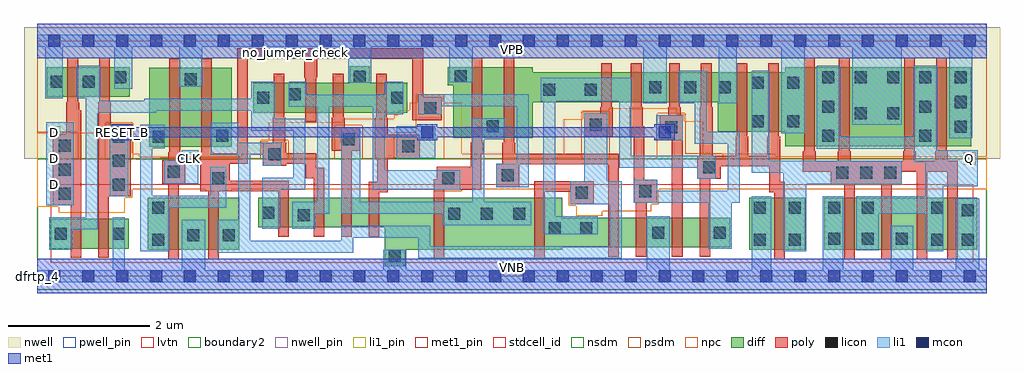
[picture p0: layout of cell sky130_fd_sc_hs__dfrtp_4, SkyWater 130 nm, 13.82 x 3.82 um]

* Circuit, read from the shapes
.subckt sky130_fd_sc_hs__dfrtp_4 CLK D Q RESET_B VGND VNB VPB VPWR
XM1 n1 D n2 VNB sky130_fd_pr__nfet_01v8_lvt w=0.42 l=0.15
XM2 VGND RESET_B n1 VNB sky130_fd_pr__nfet_01v8_lvt w=0.42 l=0.15
XM3 VGND CLK n3 VNB sky130_fd_pr__nfet_01v8_lvt w=0.74 l=0.15
XM4 n4 n3 VGND VNB sky130_fd_pr__nfet_01v8_lvt w=0.74 l=0.15
XM5 n5 n3 n2 VNB sky130_fd_pr__nfet_01v8_lvt w=0.42 l=0.15
XM6 n6 n4 n5 VNB sky130_fd_pr__nfet_01v8_lvt w=0.42 l=0.15
XM7 n7 n8 n6 VNB sky130_fd_pr__nfet_01v8_lvt w=0.42 l=0.15
XM8 VGND RESET_B n7 VNB sky130_fd_pr__nfet_01v8_lvt w=0.42 l=0.15
XM9 n8 n5 VGND VNB sky130_fd_pr__nfet_01v8_lvt w=0.74 l=0.15
XM10 n9 n4 n8 VNB sky130_fd_pr__nfet_01v8_lvt w=0.74 l=0.15
XM11 n10 n3 n9 VNB sky130_fd_pr__nfet_01v8_lvt w=0.42 l=0.15
XM12 VGND n11 n10 VNB sky130_fd_pr__nfet_01v8_lvt w=0.42 l=0.15
XM13 n12 RESET_B VGND VNB sky130_fd_pr__nfet_01v8_lvt w=0.42 l=0.15
XM14 n11 n9 n12 VNB sky130_fd_pr__nfet_01v8_lvt w=0.42 l=0.15
XM15 n13 n9 VGND VNB sky130_fd_pr__nfet_01v8_lvt w=0.74 l=0.15
XM16 Q n13 VGND VNB sky130_fd_pr__nfet_01v8_lvt w=0.74 l=0.15 m=4
XM17 n2 D VPWR VPB sky130_fd_pr__pfet_01v8 w=0.42 l=0.15
XM18 VPWR RESET_B n2 VPB sky130_fd_pr__pfet_01v8 w=0.42 l=0.15
XM19 VPWR CLK n3 VPB sky130_fd_pr__pfet_01v8 w=1.12 l=0.15
XM20 n4 n3 VPWR VPB sky130_fd_pr__pfet_01v8 w=1.12 l=0.15
XM21 n5 n4 n2 VPB sky130_fd_pr__pfet_01v8 w=0.42 l=0.15
XM22 n14 n3 n5 VPB sky130_fd_pr__pfet_01v8 w=0.42 l=0.15
XM23 VPWR n8 n14 VPB sky130_fd_pr__pfet_01v8 w=0.42 l=0.15
XM24 n5 RESET_B VPWR VPB sky130_fd_pr__pfet_01v8 w=0.42 l=0.15
XM25 n8 n5 VPWR VPB sky130_fd_pr__pfet_01v8 w=1 l=0.15
XM26 n9 n3 n8 VPB sky130_fd_pr__pfet_01v8 w=1 l=0.15
XM27 n15 n4 n9 VPB sky130_fd_pr__pfet_01v8 w=0.42 l=0.15
XM28 VPWR n11 n15 VPB sky130_fd_pr__pfet_01v8 w=0.42 l=0.15
XM29 n11 RESET_B VPWR VPB sky130_fd_pr__pfet_01v8 w=0.42 l=0.15
XM30 VPWR n9 n11 VPB sky130_fd_pr__pfet_01v8 w=0.42 l=0.15
XM31 n13 n9 VPWR VPB sky130_fd_pr__pfet_01v8 w=0.84 l=0.15 m=2
XM32 Q n13 VPWR VPB sky130_fd_pr__pfet_01v8 w=1.12 l=0.15 m=4
.ends

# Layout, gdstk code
import gdstk
lib = gdstk.Library(unit=1e-6, precision=1e-09)
def R(c, l, rs):  # rectangles x0, y0, x1, y1
    for r in rs: c.add(gdstk.rectangle(r[:2], r[2:], *l))
def A(c, l, x, y, w, h, nx, ny, dx, dy):  # array of equal rectangles
    R(c, l, [(x+i*dx, y+j*dy, x+i*dx+w, y+j*dy+h) for i in range(nx) for j in range(ny)])
def P(c, l, *ps):  # polygons
    for p in ps: c.add(gdstk.Polygon(p, *l))
nwell_pin = (64, 16)
nwell = (64, 20)
diff = (65, 20)
poly = (66, 20)
licon = (66, 44)
li1_pin = (67, 16)
li1 = (67, 20)
mcon = (67, 44)
met1_pin = (68, 16)
met1 = (68, 20)
stdcell_id = (81, 4)
nsdm = (93, 44)
psdm = (94, 20)
npc = (95, 20)
pwell_pin = (122, 16)
lvtn = (125, 44)
boundary2 = (236, 0)

sky130_fd_sc_hs__dfrtp_4 = lib.new_cell('sky130_fd_sc_hs__dfrtp_4')
R(sky130_fd_sc_hs__dfrtp_4, nwell_pin, [(0,3.085,13.44,3.33)])
P(sky130_fd_sc_hs__dfrtp_4, nwell, [(13.63,3.52),(-0.19,3.52),(-0.19,1.66),(1.4,1.66),(1.4,1.65),(2.935,1.65),(2.935,1.66),(13.63,1.66)])
R(sky130_fd_sc_hs__dfrtp_4, diff, [(1.565,0.37,2.855,1.11), (10.08,0.37,10.87,1.11), (11.14,0.37,13.305,1.11), (0.185,0.39,1.295,0.81), (1.58,1.83,2.755,2.95), (0.135,2.54,1.31,2.96)])
P(sky130_fd_sc_hs__dfrtp_4, diff, [(5.235,2.735),(4.705,2.735),(4.705,2.97),(4.425,2.97),(4.425,2.735),(3.055,2.735),(3.055,2.315),(5.235,2.315)],
  [(9.81,0.825),(7.435,0.825),(7.435,1.11),(3.125,1.11),(3.125,0.69),(4.915,0.69),(4.915,0.14),(5.205,0.14),(5.205,0.37),(7.435,0.37),(7.435,0.405),(9.81,0.405)],
  [(13.22,2.96),(10.59,2.96),(10.59,2.885),(7.015,2.885),(7.015,2.96),(5.81,2.96),(5.81,2.7),(5.885,2.7),(5.885,1.96),(7.015,1.96),(7.015,2.465),(9.635,2.465),(9.635,2.045),(10.59,2.045),(10.59,1.84),(13.22,1.84)])
P(sky130_fd_sc_hs__dfrtp_4, poly, [(13.03,1.63),(12.89,1.63),(12.89,1.765),(12.875,1.765),(12.875,3.09),(12.725,3.09),(12.725,1.765),(12.71,1.765),(12.71,1.63),(12.44,1.63),(12.44,1.765),(12.425,1.765),(12.425,3.09),(12.275,3.09),(12.275,1.765),(12.26,1.765),(12.26,1.63),(11.515,1.63),(11.515,1.765),(11.5,1.765),(11.5,3.09),(11.35,3.09),(11.35,1.765),(11.335,1.765),(11.335,1.63),(11.02,1.63),(11.02,1.765),(11.005,1.765),(11.005,3.09),(10.855,3.09),(10.855,1.765),(10.84,1.765),(10.84,1.48),(11.23,1.48),(11.23,1.3),(11.425,1.3),(11.425,0.24),(11.575,0.24),(11.575,1.3),(11.95,1.3),(11.95,0.24),(12.1,0.24),(12.1,1.3),(12.24,1.3),(12.24,1.48),(12.45,1.48),(12.45,0.24),(12.6,0.24),(12.6,1.48),(12.88,1.48),(12.88,0.24),(13.03,0.24)],
  [(10.585,1.335),(10.515,1.335),(10.515,1.97),(10.5,1.97),(10.5,3.015),(10.35,3.015),(10.35,1.97),(10.335,1.97),(10.335,1.705),(10.065,1.705),(10.065,1.97),(10.05,1.97),(10.05,3.015),(9.9,3.015),(9.9,1.97),(9.885,1.97),(9.885,1.705),(9.56,1.705),(9.56,2.39),(9.545,2.39),(9.545,3.015),(9.395,3.015),(9.395,2.39),(9.38,2.39),(9.38,1.705),(9.345,1.705),(9.345,1.375),(9.375,1.375),(9.375,0.275),(9.525,0.275),(9.525,1.375),(9.675,1.375),(9.675,1.555),(10.365,1.555),(10.365,1.185),(10.435,1.185),(10.435,0.24),(10.585,0.24)],
  [(9.14,2.275),(9.11,2.275),(9.11,2.39),(9.095,2.39),(9.095,3.015),(8.945,3.015),(8.945,2.39),(8.93,2.39),(8.93,2.275),(8.81,2.275),(8.81,1.945),(8.985,1.945),(8.985,0.275),(9.135,0.275),(9.135,1.945),(9.14,1.945)],
  [(8.775,1.365),(8.595,1.365),(8.595,2.125),(8.57,2.125),(8.57,2.39),(8.555,2.39),(8.555,3.015),(8.405,3.015),(8.405,2.39),(8.39,2.39),(8.39,1.975),(8.445,1.975),(8.445,1.035),(8.475,1.035),(8.475,0.275),(8.625,0.275),(8.625,1.035),(8.775,1.035)],
  [(8.235,1.735),(6.765,1.735),(6.765,1.885),(6.75,1.885),(6.75,3.09),(6.6,3.09),(6.6,1.885),(6.585,1.885),(6.585,1.59),(6.495,1.59),(6.495,1.26),(6.825,1.26),(6.825,1.585),(8.085,1.585),(8.085,0.275),(8.235,0.275)],
  [(8.15,2.39),(8.135,2.39),(8.135,3.015),(7.985,3.015),(7.985,2.39),(7.97,2.39),(7.97,2.305),(7.74,2.305),(7.74,1.975),(8.15,1.975)],
  [(7.875,1.345),(7.035,1.345),(7.035,0.24),(7.185,0.24),(7.185,1.195),(7.545,1.195),(7.545,1.015),(7.875,1.015)],
  [(6.315,1.885),(6.3,1.885),(6.3,3.09),(6.15,3.09),(6.15,1.885),(6.135,1.885),(6.135,1.55),(5.655,1.55),(5.655,1.37),(5.61,1.37),(5.61,0.24),(5.76,0.24),(5.76,1.22),(6.285,1.22),(6.285,1.73),(6.315,1.73)],
  [(5.725,2.54),(5.46,2.54),(5.46,3.225),(2.83,3.225),(2.83,1.74),(2.485,1.74),(2.485,1.755),(2.47,1.755),(2.47,3.08),(2.32,3.08),(2.32,1.755),(2.305,1.755),(2.305,1.2),(2.42,1.2),(2.42,0.24),(2.57,0.24),(2.57,1.2),(3.41,1.2),(3.41,0.56),(3.56,0.56),(3.56,1.35),(2.725,1.35),(2.725,1.59),(2.98,1.59),(2.98,3.075),(3.78,3.075),(3.78,2.81),(3.795,2.81),(3.795,2.185),(3.945,2.185),(3.945,2.81),(3.96,2.81),(3.96,3.075),(5.31,3.075),(5.31,2.21),(5.725,2.21)],
  [(5.415,2),(4.96,2),(4.96,2.24),(4.945,2.24),(4.945,2.865),(4.795,2.865),(4.795,2.24),(4.78,2.24),(4.78,1.67),(4.81,1.67),(4.81,1.335),(4.69,1.335),(4.69,0.56),(4.84,0.56),(4.84,1.185),(4.96,1.185),(4.96,1.67),(5.415,1.67)],
  [(4.57,2.105),(4.35,2.105),(4.35,2.24),(4.335,2.24),(4.335,2.865),(4.185,2.865),(4.185,2.24),(4.17,2.24),(4.17,1.775),(4.3,1.775),(4.3,0.56),(4.45,0.56),(4.45,1.775),(4.57,1.775)],
  [(4.06,1.535),(3.95,1.535),(3.95,1.74),(3.52,1.74),(3.52,1.89),(3.51,1.89),(3.51,2.24),(3.495,2.24),(3.495,2.865),(3.345,2.865),(3.345,2.24),(3.33,2.24),(3.33,1.89),(3.19,1.89),(3.19,1.56),(3.52,1.56),(3.52,1.59),(3.8,1.59),(3.8,1.385),(3.91,1.385),(3.91,0.56),(4.06,0.56)],
  [(2.095,1.64),(2.035,1.64),(2.035,1.755),(2.02,1.755),(2.02,3.08),(1.87,3.08),(1.87,1.755),(1.855,1.755),(1.855,1.64),(1.765,1.64),(1.765,1.31),(1.85,1.31),(1.85,0.24),(2,0.24),(2,1.31),(2.095,1.31)],
  [(1.32,2.14),(1.04,2.14),(1.04,2.465),(1.025,2.465),(1.025,3.09),(0.875,3.09),(0.875,2.465),(0.86,2.465),(0.86,0.26),(1.01,0.26),(1.01,1.13),(1.32,1.13)],
  [(0.62,2.35),(0.59,2.35),(0.59,2.465),(0.575,2.465),(0.575,3.09),(0.425,3.09),(0.425,2.465),(0.41,2.465),(0.41,2.01),(0.22,2.01),(0.22,1),(0.47,1),(0.47,0.26),(0.62,0.26)])
A(sky130_fd_sc_hs__dfrtp_4, licon, 0.3, 1.08, 0.17, 0.17, 1, 3, 0, 0.34)
A(sky130_fd_sc_hs__dfrtp_4, licon, 1.07, 1.21, 0.17, 0.17, 1, 3, 0, 0.34)
A(sky130_fd_sc_hs__dfrtp_4, licon, 11.31, 1.38, 0.17, 0.17, 3, 1, 0.34, 0)
A(sky130_fd_sc_hs__dfrtp_4, licon, 11.115, 1.9, 0.17, 0.17, 1, 3, 0, 0.415)
A(sky130_fd_sc_hs__dfrtp_4, licon, 12.49, 1.9, 0.17, 0.17, 1, 3, 0, 0.415)
A(sky130_fd_sc_hs__dfrtp_4, licon, 12.99, 2.03, 0.17, 0.17, 1, 3, 0, 0.35)
R(sky130_fd_sc_hs__dfrtp_4, licon, [(4.975,0.2,5.145,0.37), (1.625,0.43,1.795,0.6), (10.14,0.43,10.31,0.6), (10.64,0.43,10.81,0.6), (12.655,0.43,12.825,0.6), (13.085,0.43,13.255,0.6), (11.2,0.445,11.37,0.615), (11.675,0.445,11.845,0.615), (12.155,0.445,12.325,0.615), (2.125,0.49,2.295,0.66), (2.625,0.49,2.795,0.66), (0.245,0.515,0.415,0.685), (1.065,0.515,1.235,0.685), (8.705,0.53,8.875,0.7), (9.58,0.53,9.75,0.7), (7.24,0.595,7.41,0.765), (7.685,0.595,7.855,0.765), (3.685,0.775,3.855,0.945), (5.815,0.8,5.985,0.97), (6.275,0.8,6.445,0.97), (6.74,0.8,6.91,0.97), (3.185,0.815,3.355,0.985), (13.085,0.85,13.255,1.02), (1.625,0.88,1.795,1.05), (10.14,0.88,10.31,1.05), (10.64,0.88,10.81,1.05), (11.2,0.88,11.37,1.05), (11.675,0.88,11.845,1.05), (12.655,0.88,12.825,1.05), (7.625,1.095,7.795,1.265), (8.525,1.115,8.695,1.285), (2.475,1.3,2.645,1.47), (5.735,1.3,5.905,1.47), (6.575,1.34,6.745,1.51), (1.845,1.39,2.015,1.56), (9.425,1.455,9.595,1.625), (3.27,1.64,3.44,1.81), (5.165,1.75,5.335,1.92), (4.32,1.855,4.49,2.025), (1.635,1.89,1.805,2.06), (2.535,1.905,2.705,2.075), (8.89,2.025,9.06,2.195), (6.365,2.04,6.535,2.21), (7.82,2.055,7.99,2.225), (10.115,2.105,10.285,2.275), (10.615,2.105,10.785,2.275), (11.57,2.22,11.74,2.39), (12.035,2.22,12.205,2.39), (5.475,2.29,5.645,2.46), (3.11,2.44,3.28,2.61), (5.01,2.44,5.18,2.61), (3.56,2.49,3.73,2.66), (7.16,2.555,7.33,2.725), (7.75,2.555,7.92,2.725), (8.66,2.59,8.83,2.76), (9.16,2.59,9.33,2.76), (9.65,2.59,9.82,2.76), (10.115,2.655,10.285,2.825), (10.615,2.655,10.785,2.825), (0.19,2.665,0.36,2.835), (0.64,2.665,0.81,2.835), (2.085,2.7,2.255,2.87), (1.09,2.73,1.26,2.9), (11.57,2.73,11.74,2.9), (12.035,2.73,12.205,2.9), (4.48,2.74,4.65,2.91), (5.91,2.745,6.08,2.915)])
A(sky130_fd_sc_hs__dfrtp_4, li1_pin, 0.155, 1.21, 0.17, 0.17, 1, 3, 0, 0.37)
R(sky130_fd_sc_hs__dfrtp_4, li1_pin, [(2.075,1.58,2.245,1.75), (13.115,1.58,13.285,1.75)])
R(sky130_fd_sc_hs__dfrtp_4, li1, [(0.125,1,0.515,2.18), (1.025,1.13,1.285,2.14), (5.085,1.67,5.635,2.12), (8.765,1.92,9.14,2.275)])
P(sky130_fd_sc_hs__dfrtp_4, li1, [(8.58,2.445),(8.58,3.245),(6.165,3.245),(6.165,2.745),(5.83,2.745),(5.83,3.245),(4.73,3.245),(4.73,2.74),(4.4,2.74),(4.4,3.245),(2.335,3.245),(2.335,2.68),(2.005,2.68),(2.005,3.245),(1.34,3.245),(1.34,2.65),(1.09,2.65),(1.09,3.245),(0.36,3.245),(0.36,2.52),(0.11,2.52),(0.11,3.245),(0,3.245),(0,3.415),(13.44,3.415),(13.44,3.245),(13.24,3.245),(13.24,1.95),(12.91,1.95),(12.91,3.245),(12.24,3.245),(12.24,2.14),(11.535,2.14),(11.535,3.245),(10.865,3.245),(10.865,2.025),(10.535,2.025),(10.535,3.245),(9.9,3.245),(9.9,2.445),(9.65,2.445),(9.65,3.245),(8.91,3.245),(8.91,2.445)],
  [(2.045,0.085),(2.045,0.8),(2.375,0.8),(2.375,0.085),(4.895,0.085),(4.895,0.37),(5.225,0.37),(5.225,0.085),(8.625,0.085),(8.625,0.845),(8.955,0.845),(8.955,0.085),(10.115,0.085),(10.115,1.13),(10.39,1.13),(10.39,0.085),(11.12,0.085),(11.12,1.13),(11.41,1.13),(11.41,0.085),(12.08,0.085),(12.08,0.71),(12.405,0.71),(12.405,0.085),(13.005,0.085),(13.005,1.1),(13.335,1.1),(13.335,0.085),(13.44,0.085),(13.44,-0.085),(0,-0.085),(0,0.085),(1.065,0.085),(1.065,0.83),(1.235,0.83),(1.235,0.085)],
  [(1.795,1.31),(1.795,1.64),(2.045,1.64),(2.045,1.78),(2.275,1.78),(2.275,1.31)],
  [(13.315,1.78),(12.74,1.78),(12.74,2.98),(12.41,2.98),(12.41,1.97),(11.365,1.97),(11.365,2.98),(11.035,2.98),(11.035,1.8),(12.41,1.8),(12.41,1.61),(12.575,1.61),(12.575,1.13),(11.595,1.13),(11.595,0.365),(11.91,0.365),(11.91,0.88),(12.575,0.88),(12.575,0.35),(12.825,0.35),(12.825,1.27),(13.315,1.27)],
  [(9.31,1.875),(9.31,2.445),(9.08,2.445),(9.08,2.905),(9.48,2.905),(9.48,2.045),(9.945,2.045),(9.945,1.035),(9.83,1.035),(9.83,0.385),(9.5,0.385),(9.5,1.035),(8.445,1.035),(8.445,1.365),(8.775,1.365),(8.775,1.205),(9.775,1.205),(9.775,1.875)],
  [(3.36,2.23),(3.795,2.23),(3.795,1.22),(3.435,1.22),(3.435,0.67),(3.185,0.67),(3.185,1.39),(3.625,1.39),(3.625,2.06),(3.03,2.06),(3.03,2.34),(1.68,2.34),(1.68,2.31),(0.855,2.31),(0.855,0.66),(0.495,0.66),(0.495,0.37),(0.165,0.37),(0.165,0.83),(0.685,0.83),(0.685,2.52),(0.56,2.52),(0.56,2.98),(0.89,2.98),(0.89,2.48),(1.51,2.48),(1.51,2.51),(3.03,2.51),(3.03,2.755),(3.36,2.755)],
  [(1.625,1.81),(1.625,1.14),(2.445,1.14),(2.445,1.55),(2.675,1.55),(2.675,0.97),(1.875,0.97),(1.875,0.35),(1.455,0.35),(1.455,2.14),(1.805,2.14),(1.805,1.81)],
  [(3.965,1.05),(3.965,2.4),(3.56,2.4),(3.56,2.755),(3.81,2.755),(3.81,2.57),(4.915,2.57),(4.915,2.755),(5.18,2.755),(5.18,2.295),(4.915,2.295),(4.915,1.5),(5.985,1.5),(5.985,1.22),(4.745,1.22),(4.745,2.4),(4.135,2.4),(4.135,0.88),(3.935,0.88),(3.935,0.67),(3.605,0.67),(3.605,1.05)],
  [(2.845,0.8),(2.845,1.72),(2.455,1.72),(2.455,2.17),(2.845,2.17),(2.845,1.89),(3.455,1.89),(3.455,1.56),(3.19,1.56),(3.19,1.72),(3.015,1.72),(3.015,0.5),(4.305,0.5),(4.305,0.71),(5.565,0.71),(5.565,0.425),(8.105,0.425),(8.105,1.015),(7.545,1.015),(7.545,1.345),(7.74,1.345),(7.74,2.305),(8.07,2.305),(8.07,1.345),(8.275,1.345),(8.275,0.255),(5.395,0.255),(5.395,0.54),(4.475,0.54),(4.475,0.33),(2.545,0.33),(2.545,0.8)],
  [(10.56,1.46),(10.115,1.46),(10.115,2.905),(10.365,2.905),(10.365,1.63),(12.24,1.63),(12.24,1.3),(10.89,1.3),(10.89,0.35),(10.56,0.35)],
  [(4.57,1.05),(6.155,1.05),(6.155,2.235),(6.615,2.235),(6.615,1.94),(6.325,1.94),(6.325,1.05),(6.99,1.05),(6.99,0.72),(5.735,0.72),(5.735,0.88),(4.305,0.88),(4.305,2.105),(4.57,2.105)],
  [(7.125,2.475),(7.125,2.805),(8.41,2.805),(8.41,1.705),(9.605,1.705),(9.605,1.375),(9.345,1.375),(9.345,1.535),(8.24,1.535),(8.24,2.475),(7.33,2.475),(7.33,0.845),(7.935,0.845),(7.935,0.595),(7.16,0.595),(7.16,2.475)],
  [(6.785,1.59),(6.785,2.405),(5.725,2.405),(5.725,2.29),(5.395,2.29),(5.395,2.575),(6.955,2.575),(6.955,1.26),(6.495,1.26),(6.495,1.59)])
A(sky130_fd_sc_hs__dfrtp_4, mcon, 0.155, -0.085, 0.17, 0.17, 28, 2, 0.48, 3.33)
R(sky130_fd_sc_hs__dfrtp_4, mcon, [(1.115,1.95,1.285,2.12), (5.435,1.95,5.605,2.12), (8.795,1.95,8.965,2.12)])
R(sky130_fd_sc_hs__dfrtp_4, met1_pin, [(0,0,13.44,0.245), (1.115,1.95,1.285,2.12), (0,3.085,13.44,3.33)])
R(sky130_fd_sc_hs__dfrtp_4, met1, [(0,-0.245,13.44,0.245), (0,3.085,13.44,3.575)])
P(sky130_fd_sc_hs__dfrtp_4, met1, [(5.665,2.105),(8.735,2.105),(8.735,2.15),(9.025,2.15),(9.025,1.92),(8.735,1.92),(8.735,1.965),(5.665,1.965),(5.665,1.92),(5.375,1.92),(5.375,1.965),(1.345,1.965),(1.345,1.92),(1.055,1.92),(1.055,2.15),(1.345,2.15),(1.345,2.105),(5.375,2.105),(5.375,2.15),(5.665,2.15)])
R(sky130_fd_sc_hs__dfrtp_4, stdcell_id, [(0,0,13.44,3.33)])
R(sky130_fd_sc_hs__dfrtp_4, nsdm, [(0,-0.19,13.44,1.66)])
P(sky130_fd_sc_hs__dfrtp_4, psdm, [(13.44,3.52),(0,3.52),(0,2.04),(0.58,2.04),(0.58,1.66),(0.96,1.66),(0.96,2.17),(1.35,2.17),(1.35,1.66),(1.735,1.66),(1.735,1.67),(2.125,1.67),(2.125,1.66),(3.16,1.66),(3.16,1.92),(3.55,1.92),(3.55,1.66),(4.21,1.66),(4.21,2.135),(4.6,2.135),(4.6,1.66),(5.055,1.66),(5.055,2.03),(5.365,2.03),(5.365,2.57),(5.755,2.57),(5.755,1.66),(7.71,1.66),(7.71,2.335),(8.1,2.335),(8.1,1.66),(8.78,1.66),(8.78,2.305),(9.17,2.305),(9.17,1.735),(9.705,1.735),(9.705,1.66),(13.44,1.66)])
P(sky130_fd_sc_hs__dfrtp_4, npc, [(13.44,1.7),(10.45,1.7),(10.45,1.73),(9.425,1.73),(9.425,2.19),(9.16,2.19),(9.16,2.295),(9.055,2.295),(9.055,2.375),(8.09,2.375),(8.09,2.325),(7.72,2.325),(7.72,2.22),(7.455,2.22),(7.455,1.73),(6.01,1.73),(6.01,2.455),(5.745,2.455),(5.745,2.56),(5.375,2.56),(5.375,2.455),(5.27,2.455),(5.27,2.35),(5.11,2.35),(5.11,2.285),(5.05,2.285),(5.05,2.225),(4.325,2.225),(4.325,2.175),(3.275,2.175),(3.275,1.91),(3.17,1.91),(3.17,1.73),(2.895,1.73),(2.895,1.69),(1.44,1.69),(1.44,1.73),(1.34,1.73),(1.34,2.16),(0.97,2.16),(0.97,2.03),(0,2.03),(0,0.98),(0.305,0.98),(0.305,0.9),(1.235,0.9),(1.235,1.11),(1.34,1.11),(1.34,1.23),(2.375,1.23),(2.375,1.2),(2.745,1.2),(2.745,1.23),(5.635,1.23),(5.635,1.2),(6.005,1.2),(6.005,1.23),(7.525,1.23),(7.525,0.995),(7.63,0.995),(7.63,0.855),(7.995,0.855),(7.995,0.915),(8.69,0.915),(8.69,1.015),(8.795,1.015),(8.795,1.23),(13.44,1.23)])
R(sky130_fd_sc_hs__dfrtp_4, pwell_pin, [(0,0,13.44,0.245)])
R(sky130_fd_sc_hs__dfrtp_4, lvtn, [(0.19,0.19,13.25,1.3)])
R(sky130_fd_sc_hs__dfrtp_4, boundary2, [(0,0,13.44,3.33)])
sky130_fd_sc_hs__dfrtp_4.add(gdstk.Label('dfrtp_4', (0,0), layer=83, texttype=44))
sky130_fd_sc_hs__dfrtp_4.add(gdstk.Label('no_jumper_check', (3.655,3.165), layer=83, texttype=44))
sky130_fd_sc_hs__dfrtp_4.add(gdstk.Label('VNB', (6.72,0.123), layer=64, texttype=59))
sky130_fd_sc_hs__dfrtp_4.add(gdstk.Label('VPB', (6.72,3.208), layer=64, texttype=5))
sky130_fd_sc_hs__dfrtp_4.add(gdstk.Label('RESET_B', (1.2,2.035), layer=68, texttype=5))
sky130_fd_sc_hs__dfrtp_4.add(gdstk.Label('VPWR', (6.72,3.208), layer=68, texttype=5))
sky130_fd_sc_hs__dfrtp_4.add(gdstk.Label('VGND', (6.72,0.123), layer=68, texttype=5))
sky130_fd_sc_hs__dfrtp_4.add(gdstk.Label('D', (0.24,1.295), layer=67, texttype=5))
sky130_fd_sc_hs__dfrtp_4.add(gdstk.Label('D', (0.24,1.665), layer=67, texttype=5))
sky130_fd_sc_hs__dfrtp_4.add(gdstk.Label('D', (0.24,2.035), layer=67, texttype=5))
sky130_fd_sc_hs__dfrtp_4.add(gdstk.Label('CLK', (2.16,1.665), layer=67, texttype=5))
sky130_fd_sc_hs__dfrtp_4.add(gdstk.Label('Q', (13.2,1.665), layer=67, texttype=5))

lib.write_gds('sky130_fd_sc_hs__dfrtp_4.gds')
